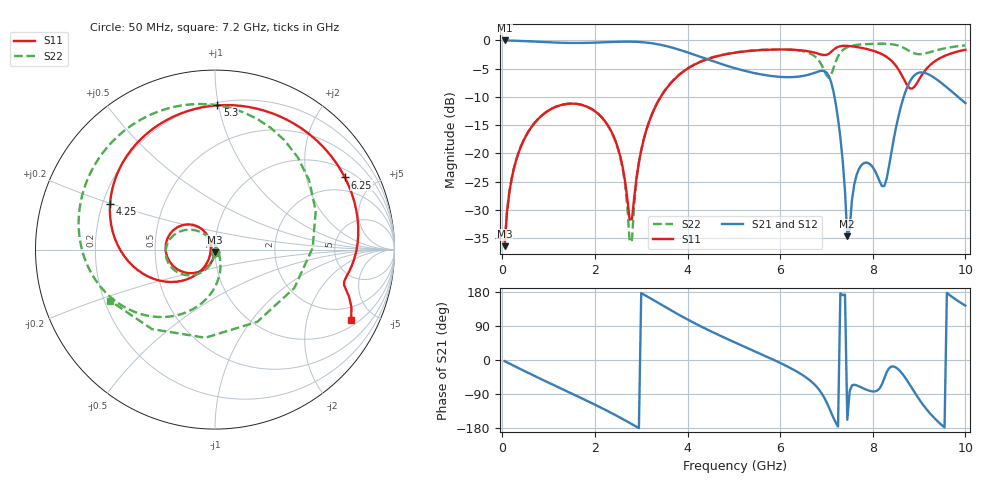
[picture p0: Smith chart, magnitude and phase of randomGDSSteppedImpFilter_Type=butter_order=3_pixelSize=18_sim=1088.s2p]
! freq	dB(S11)	phase(S11)	dB(S12)	phase(S12)
!  dB(S21)	phase(S21)	dB(S22)	phase(S22)
!S-par simulation data
#  GHz  S  DB  R 50
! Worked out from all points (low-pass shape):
!   200 points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, 50 MHz to 10 GHz, reference 50 ohm
!   highest |S21| = -0.01 dB at 50 MHz (marker M1); lowest = -34.7 dB at 7.45 GHz (marker M2)
!   |S21| within 3 dB of the highest: start of sweep to 4.31 GHz
!   lowest |S11| = -36.5 dB at 50 MHz (marker M3), VSWR 1.03, Z = 49.9 - j1.5 ohm
!   |S11| at or under -10 dB: start of sweep to 3.422 GHz
!   |S22| runs from -36.5 to -0.6 dB; largest |S21 - S12| = 0
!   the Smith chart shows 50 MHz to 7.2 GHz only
!   S11 on the Smith chart (normalised r, x): 50 MHz: 1.00, -0.03; 4.25 GHz: 0.23, +0.20; 5.3 GHz: 0.22, +0.99; 6.25 GHz: 1.32, +3.38; 7.2 GHz: 1.25, -3.69
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0.05  -36.46 -92.6  -0.01 -3.1  -0.01 -3.1  -36.46 -92.3
0.5  -17.08 -122.5  -0.13 -30.4  -0.13 -30.4  -17.07 -119.2
1.75  -11.51 161.3  -0.44 -103.0  -0.44 -103.0  -11.50 172.0
2.45  -17.94 121.5  -0.25 -145.8  -0.25 -145.8  -18.03 129.3
2.75  -31.73 155.8  -0.22 -165.8  -0.22 -165.8  -35.73 64.4
3.4  -10.30 -143.8  -0.75 148.2  -0.75 148.2  -10.27 -103.8
4.25  -3.90 156.3  -2.83 91.1  -2.83 91.1  -3.85 -156.0
5.05  -2.15 104.6  -4.98 44.9  -4.98 44.9  -2.10 164.4
5.3  -1.90 89.0  -5.52 31.3  -5.52 31.3  -1.85 153.1
6.25  -1.64 29.1  -6.50 -23.0  -6.50 -23.0  -1.65 106.0
6.7  -2.08 -0.7  -5.86 -59.7  -5.86 -59.7  -2.54 65.5
6.95  -2.60 -13.7  -5.42 -99.0  -5.42 -99.0  -5.28 1.0
7.1  -2.04 -19.3  -7.37 -138.4  -7.37 -138.4  -6.13 -96.3
7.2  -1.36 -27.5  -11.18 -165.0  -11.18 -165.0  -3.75 -153.8
7.45  -0.96 -54.1  -34.68 -157.6  -34.68 -157.6  -1.20 141.1
7.95  -1.69 -111.7  -21.99 -82.0  -21.99 -82.0  -0.62 96.1
8.35  -3.23 -179.4  -22.32 -21.9  -22.32 -21.9  -0.63 73.5
8.6  -5.78 110.2  -11.95 -30.6  -11.95 -30.6  -1.06 60.0
8.8  -8.49 16.9  -7.30 -65.2  -7.30 -65.2  -1.92 52.5
9.1  -5.66 -120.1  -5.71 -120.6  -5.71 -120.6  -2.37 50.1
9.45  -3.15 154.7  -7.34 -167.4  -7.34 -167.4  -1.59 42.1
10  -1.65 77.1  -11.11 143.5  -11.11 143.5  -0.89 23.2
